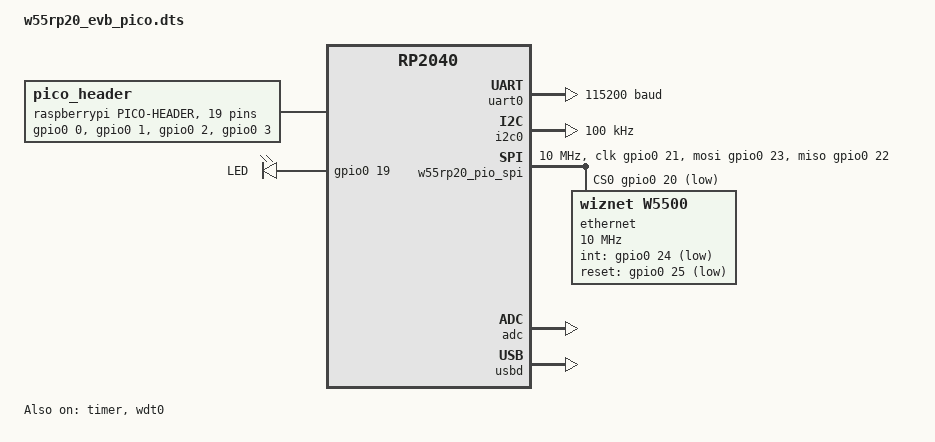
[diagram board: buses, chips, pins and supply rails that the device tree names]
/*
 * Copyright (c) 2026 Mason Lee
 *
 * SPDX-License-Identifier: Apache-2.0
 */

/dts-v1/;

#include <freq.h>

#include <raspberrypi/rpi_pico/rp2040.dtsi>
#include "w55rp20_evb_pico-pinctrl.dtsi"
#include <zephyr/dt-bindings/pwm/pwm.h>

#include <zephyr/dt-bindings/i2c/i2c.h>

/ {
	chosen {
		zephyr,sram = &sram0;
		zephyr,flash = &flash0;
		zephyr,flash-controller = &ssi;
		zephyr,console = &uart0;
		zephyr,shell-uart = &uart0;
		zephyr,code-partition = &code_partition;
	};

	pico_header: connector {
		compatible = "raspberrypi,pico-header";
		#gpio-cells = <2>;
		gpio-map-mask = <0xffffffff 0xffffffc0>;
		gpio-map-pass-thru = <0 0x3f>;
		gpio-map = <0 0 &gpio0 0 0>,	/* GP0 */
			   <1 0 &gpio0 1 0>,	/* GP1 */
			   <2 0 &gpio0 2 0>,	/* GP2 */
			   <3 0 &gpio0 3 0>,	/* GP3 */
			   <4 0 &gpio0 4 0>,	/* GP4 */
			   <5 0 &gpio0 5 0>,	/* GP5 */
			   <6 0 &gpio0 6 0>,	/* GP6 */
			   <7 0 &gpio0 7 0>,	/* GP7 */
			   <8 0 &gpio0 8 0>,	/* GP8 */
			   <9 0 &gpio0 9 0>,	/* GP9 */
			   <10 0 &gpio0 10 0>,	/* GP10 */
			   <11 0 &gpio0 11 0>,	/* GP11 */
			   <12 0 &gpio0 12 0>,	/* GP12 */
			   <13 0 &gpio0 13 0>,	/* GP13 */
			   <14 0 &gpio0 14 0>,	/* GP14 */
			   <15 0 &gpio0 15 0>,	/* GP15 */
			   <26 0 &gpio0 26 0>,	/* GP26 */
			   <27 0 &gpio0 27 0>,	/* GP27 */
			   <28 0 &gpio0 28 0>;	/* GP28 */
	};

	leds {
		compatible = "gpio-leds";

		led0: led_0 {
			gpios = <&gpio0 19 GPIO_ACTIVE_HIGH>;
			label = "LED";
		};
	};

	pwm_leds {
		compatible = "pwm-leds";
		status = "disabled";

		pwm_led0: pwm_led_0 {
			pwms = <&pwm 9 PWM_MSEC(20) PWM_POLARITY_NORMAL>;
			label = "PWM_LED";
		};
	};

	aliases {
		led0 = &led0;
		pwm-led0 = &pwm_led0;
		watchdog0 = &wdt0;
	};
};

&flash0 {
	/* 2MB of flash minus the 0x100 used for
	 * the second stage bootloader
	 */
	reg = <0x10000000 DT_SIZE_M(2)>;
	ranges = <0x0 0x10000000 DT_SIZE_M(2)>;

	partitions {
		compatible = "fixed-partitions";
		ranges;
		#address-cells = <1>;
		#size-cells = <1>;

		/* Reserved memory for the second stage bootloader */
		second_stage_bootloader: partition@0 {
			label = "second_stage_bootloader";
			reg = <0x00000000 0x100>;
			read-only;
		};

		/*
		 * Usable flash. Starts at 0x100, after the bootloader. The partition
		 * size is 2MB minus the 0x100 bytes taken by the bootloader.
		 */
		code_partition: partition@100 {
			compatible = "zephyr,mapped-partition";
			label = "code-partition";
			reg = <0x100 (DT_SIZE_M(2) - 0x100)>;
			read-only;
		};
	};
};

&uart0 {
	current-speed = <115200>;
	status = "okay";
	pinctrl-0 = <&uart0_default>;
	pinctrl-names = "default";
};

&gpio0 {
	status = "okay";
};

&i2c0 {
	clock-frequency = <I2C_BITRATE_STANDARD>;
	status = "okay";
	pinctrl-0 = <&i2c0_default>;
	pinctrl-names = "default";
};

&i2c1 {
	pinctrl-0 = <&i2c1_default>;
	pinctrl-names = "default";
	status = "disabled";
	clock-frequency = <I2C_BITRATE_FAST>;
};

/*
 * NOTE:
 * W55RP20 uses PIO-based SPI for W5500. Disable the HW SPI node (spi0) here
 * to avoid pinmux / bus confusion. If you still need HW SPI for other devices,
 * you can re-enable it with different pins.
 */
&spi0 {
	status = "disabled";
};

/*
 * PIO SPI bus for W5500
 * Pin mapping (given):
 *  - SCK  : GPIO21
 *  - MOSI : GPIO23
 *  - MISO : GPIO22
 *  - CS   : GPIO20
 *  - RST  : GPIO25
 *  - IRQ  : GPIO24
 */
&pio0 {
	status = "okay";

	w55rp20_pio_spi: w55rp20_pio_spi {
		compatible = "raspberrypi,pico-spi-pio";
		status = "okay";
		pinctrl-0 = <&pio_spi_default>;
		pinctrl-names = "default";

		#address-cells = <1>;
		#size-cells = <0>;

		/* pico-spi-pio binding requires clocks */
		clocks = <&clocks 10>;

		/* SPI clock on the bus (Hz) */
		clock-frequency = <10000000>;

		clk-gpios = <&gpio0 21 GPIO_ACTIVE_HIGH>;
		mosi-gpios = <&gpio0 23 GPIO_ACTIVE_HIGH>;
		miso-gpios = <&gpio0 22 GPIO_ACTIVE_HIGH>;

		cs-gpios = <&gpio0 20 GPIO_ACTIVE_LOW>;

		ethernet: w5500@0 {
			compatible = "wiznet,w5500";
			reg = <0x0>;
			spi-max-frequency = <10000000>;

			int-gpios = <&gpio0 24 GPIO_ACTIVE_LOW>;
			reset-gpios = <&gpio0 25 GPIO_ACTIVE_LOW>;

			local-mac-address = [00 00 00 01 02 03];
			status = "okay";
		};
	};
};

&timer {
	status = "okay";
};

&wdt0 {
	status = "okay";
};

&adc {
	status = "okay";
	pinctrl-0 = <&adc_default>;
	pinctrl-names = "default";
};

zephyr_udc0: &usbd {
	status = "okay";
};

&pwm {
	pinctrl-0 = <&pwm_ch4b_default>;
	pinctrl-names = "default";
	divider-int-0 = <255>;
};

&vreg {
	regulator-always-on;
	regulator-allowed-modes = <REGULATOR_RPI_PICO_MODE_NORMAL>;
};

/* Update the "default pico_spi" alias to point to the PIO SPI bus */
pico_spi: &w55rp20_pio_spi {};

pico_i2c0: &i2c0 {};

pico_i2c1: &i2c1 {};
